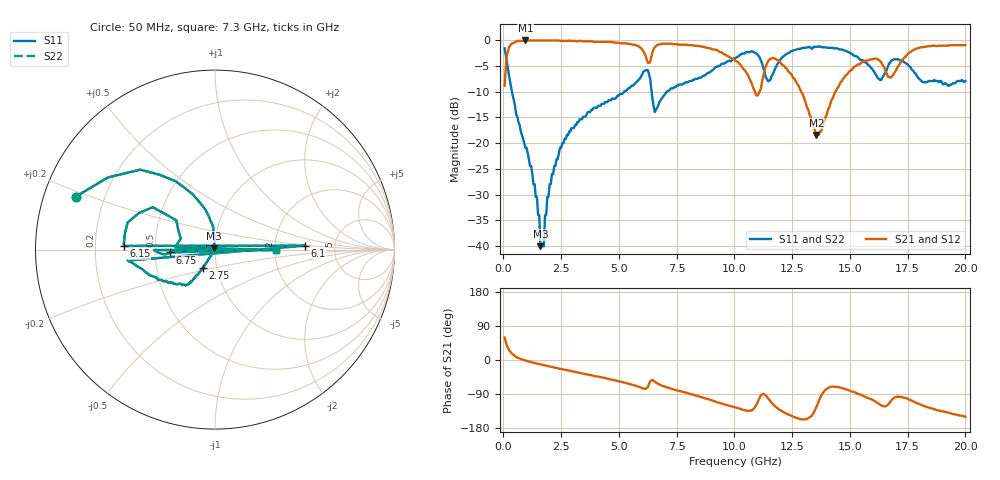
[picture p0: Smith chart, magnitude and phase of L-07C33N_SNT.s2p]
#	mhz	s	ma	r	50
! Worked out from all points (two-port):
!   400 points, 50 MHz to 20 GHz, reference 50 ohm
!   highest |S21| = -0.09 dB at 950 MHz (marker M1); lowest = -18.4 dB at 13.55 GHz (marker M2)
!   |S21| within 3 dB of the highest: 145.3 MHz to 6.157 GHz (6.012 GHz wide, 191 % of centre); 6.414 GHz to 9.696 GHz (3.282 GHz wide, 40.7 % of centre)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
!   lowest |S11| = -40.0 dB at 1.6 GHz (marker M3), VSWR 1.02, Z = 49.4 + j0.777 ohm
!   |S11| at or under -10 dB: 366.5 MHz to 5.231 GHz (4.865 GHz wide, 174 % of centre); 6.416 GHz to 7.081 GHz (665.6 MHz wide, 9.86 % of centre)
!   |S22| runs from -40.0 to -1.2 dB; largest |S21 - S12| = 0
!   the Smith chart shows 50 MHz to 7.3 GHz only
!   S11 on the Smith chart (normalised r, x): 50 MHz: 0.10, +0.18; 2.75 GHz: 0.86, -0.17; 6.1 GHz: 2.99, +0.17; 6.15 GHz: 0.32, +0.02; 6.75 GHz: 0.60, -0.02; 7.3 GHz: 2.03, -0.02
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50  0.83 159.2  0.36 59.3  0.36 59.3  0.83 159.2
350  0.33 111.8  0.92 17.8  0.92 17.8  0.33 111.8
950  0.09 93.9  0.99 -1.4  0.99 -1.4  0.09 93.9
1600  0.01 128.1  0.99 -11.6  0.99 -11.6  0.01 128.1
2750  0.12 -123.5  0.98 -26.9  0.98 -26.9  0.12 -123.5
3400  0.17 -125.2  0.97 -35.3  0.97 -35.3  0.17 -125.2
6050  0.49 -172.8  0.78 -75.3  0.78 -75.3  0.49 -172.8
6100  0.5 2.5  0.75 -75.8  0.75 -75.8  0.5 2.5
6150  0.51 177.7  0.71 -76.3  0.71 -76.3  0.51 177.7
6650  0.22 176.9  0.89 -61.5  0.89 -61.5  0.22 176.9
6700  0.23 0.3  0.9 -63.1  0.9 -63.1  0.23 0.3
6750  0.25 -176.3  0.91 -64.6  0.91 -64.6  0.25 -176.3
7250  0.34 -179.6  0.92 -75.6  0.92 -75.6  0.34 -179.6
7300  0.34 -0.6  0.92 -76.5  0.92 -76.5  0.34 -0.6
7350  0.34 178.3  0.91 -77.4  0.91 -77.4  0.34 178.3
10050  0.67 142.9  0.63 -125.5  0.63 -125.5  0.67 142.9
13350  0.82 77.9  0.16 -147.0  0.16 -147.0  0.82 77.9
13550  0.86 68.2  0.12 -124.0  0.12 -124.0  0.86 68.2
15450  0.64 2.3  0.59 -91.2  0.59 -91.2  0.64 2.3
16700  0.59 29.4  0.44 -114.0  0.44 -114.0  0.59 29.4
17900  0.45 -14.1  0.83 -113.6  0.83 -113.6  0.45 -14.1
20000  0.4 -65.7  0.89 -149.6  0.89 -149.6  0.4 -65.7
